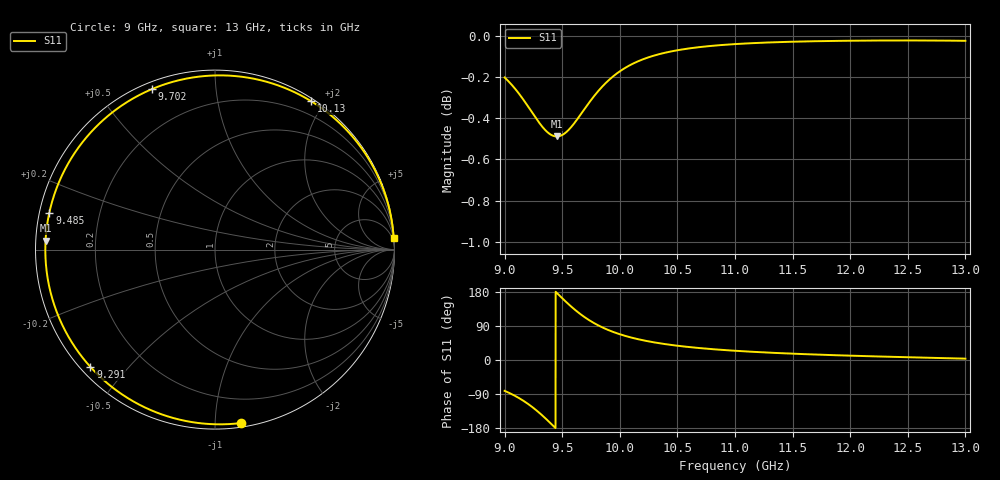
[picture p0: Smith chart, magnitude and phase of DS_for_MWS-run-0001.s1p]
! TOUCHSTONE file generated by CST DESIGN STUDIO
! Date and time: Tue Feb  4 13:38:48 2025
! Project name: C:\Work\MatlabApps\UnitCellOptimizationMatlab\CST\unitcell.cst
! Tree item: Tasks\Sweep1\SPara1\S-Parameters
! Header version: 2024
! Port assignment regex: !\s*Touchstone port\s*([0-9]+)\s*=\s*(CST MWS port|CST DES external port|CST DES block port)\s*(.+)\s* \(\"(.*)\"\)(\s*mode\s*([0-9]+))?.*
! Touchstone port assignment:
! Touchstone port 1 = CST DES external port 1 ("")
# GHz S MA R 50
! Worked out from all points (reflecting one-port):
!   4001 points, 9 GHz to 13 GHz, reference 50 ohm
!   lowest |S11| = -0.5 dB at 9.453 GHz (marker M1), VSWR 35.61, Z = 1.41 + j1.32 ohm
!   phase of S11 starts at -81 deg and turns -275 deg over the sweep
!   S11 on the Smith chart (normalised r, x): 9 GHz: 0.03, -1.16; 9.291 GHz: 0.03, -0.40; 9.485 GHz: 0.03, +0.11; 9.702 GHz: 0.03, +0.68; 10.13 GHz: 0.03, +1.84; 13 GHz: 1, +32
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9  0.9771 -81.4
9.09  0.971 -94.5
9.163  0.965 -107.6
9.229  0.959 -121.6
9.291  0.9534 -136.7
9.333  0.9501 -148.0
9.378  0.9473 -160.8
9.416  0.9459 -172.0
9.453  0.9454 177.0
9.485  0.9457 167.4
9.5  0.9461 163.0
9.553  0.9487 147.8
9.602  0.9522 134.7
9.651  0.9563 122.7
9.702  0.9607 111.5
9.76  0.9656 100.3
9.825  0.9706 89.5
9.91  0.976 77.9
10  0.9805 68.0
10.128  0.9851 57.1
10.295  0.9891 46.7
10.5  0.9921 37.7
10.723  0.9941 30.6
11  0.9955 24.4
11.5  0.9968 16.7
12  0.9974 11.4
12.5  0.9975 7.3
13  0.9973 3.6
